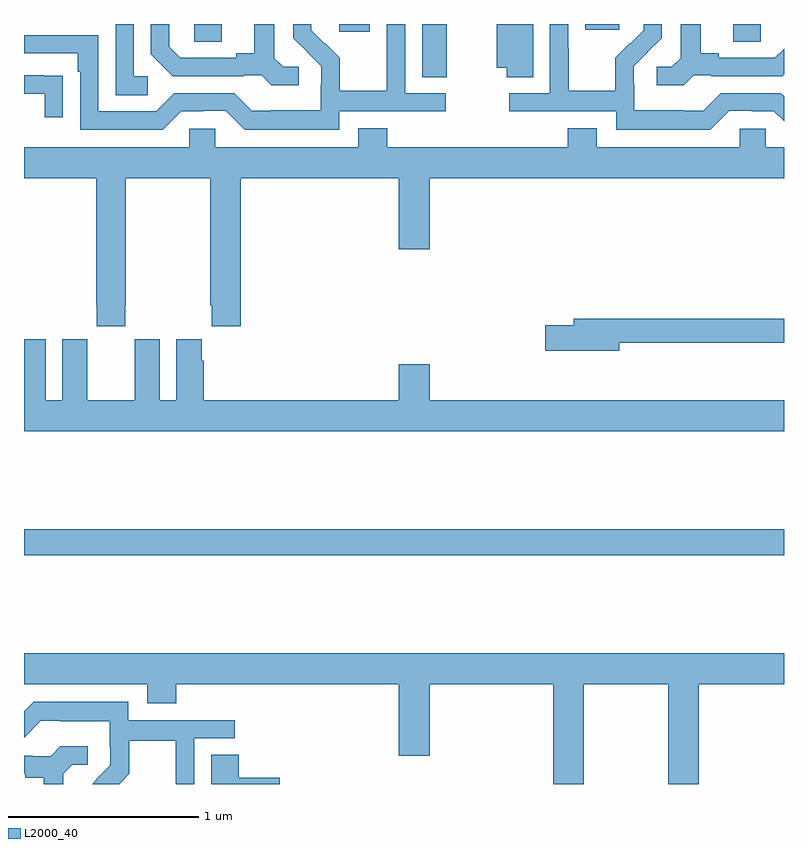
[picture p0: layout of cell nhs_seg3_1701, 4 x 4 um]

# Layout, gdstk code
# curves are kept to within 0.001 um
import gdstk
lib = gdstk.Library(unit=1e-6, precision=1e-09)
def R(c, l, rs):  # rectangles x0, y0, x1, y1
    for r in rs: c.add(gdstk.rectangle(r[:2], r[2:], *l))
def P(c, l, *ps):  # polygons
    for p in ps: c.add(gdstk.Polygon(p, *l))
L2000_40 = (2000, 40)

nhs_seg3_1701 = lib.new_cell('nhs_seg3_1701')
R(nhs_seg3_1701, L2000_40, [(199,693.604,203,693.74), (201.095,696.121,201.226,696.4), (199.896,696.307,200.041,696.4), (202.733,696.307,202.878,696.4), (200.66,696.36,200.821,696.4), (201.953,696.369,202.132,696.4)])
P(nhs_seg3_1701, L2000_40, [(202.524,696.129),(202.618,696.129),(202.618,696.126),(202.99,696.126),(203,696.136),(203,696.27),(202.952,696.222),(202.657,696.222),(202.657,696.245),(202.561,696.245),(202.561,696.4),(202.457,696.4),(202.457,696.221),(202.41,696.174),(202.329,696.174),(202.329,696.077),(202.472,696.077)],
  [(202.713,695.943),(202.829,695.943),(202.829,695.94),(202.947,695.94),(203,695.887),(203,696.019),(202.983,696.036),(202.668,696.036),(202.575,695.943),(202.475,695.943),(202.475,695.947),(202.212,695.947),(202.212,696.081),(202.21,696.081),(202.21,696.178),(202.356,696.326),(202.356,696.4),(202.262,696.4),(202.262,696.368),(202.191,696.297),(202.188,696.3),(202.111,696.223),(202.111,696.049),(201.867,696.049),(201.867,696.272),(201.864,696.272),(201.864,696.4),(201.768,696.4),(201.768,696.036),(201.555,696.036),(201.555,695.94),(202.116,695.94),(202.116,695.843),(202.613,695.843)],
  [(199.651,696.126),(199.578,696.126),(199.578,696.4),(199.482,696.4),(199.482,696.025),(199.651,696.025)],
  [(200.658,695.94),(201.22,695.94),(201.22,696.036),(201.006,696.036),(201.006,696.4),(200.91,696.4),(200.91,696.272),(200.908,696.272),(200.908,696.049),(200.663,696.049),(200.663,696.223),(200.586,696.3),(200.583,696.297),(200.513,696.368),(200.513,696.4),(200.418,696.4),(200.418,696.326),(200.564,696.178),(200.564,696.081),(200.562,696.081),(200.562,695.947),(200.299,695.947),(200.299,695.943),(200.199,695.943),(200.106,696.036),(199.791,696.036),(199.695,695.94),(199.392,695.94),(199.392,696.342),(199,696.342),(199,696.246),(199.283,696.246),(199.283,696.149),(199.296,696.149),(199.296,695.844),(199.731,695.844),(199.827,695.94),(199.946,695.94),(199.946,695.943),(200.061,695.943),(200.161,695.843),(200.658,695.843)],
  [(201.679,696.4),(201.488,696.4),(201.488,696.17),(201.541,696.17),(201.541,696.121),(201.679,696.121)],
  [(200.446,696.174),(200.364,696.174),(200.317,696.221),(200.317,696.4),(200.213,696.4),(200.213,696.245),(200.117,696.245),(200.117,696.222),(199.822,696.222),(199.765,696.279),(199.765,696.4),(199.668,696.4),(199.668,696.242),(199.784,696.126),(200.156,696.126),(200.156,696.129),(200.25,696.129),(200.302,696.077),(200.446,696.077)],
  [(199.205,696.128),(199.103,696.128),(199.103,696.129),(199,696.129),(199,696.033),(199.109,696.033),(199.109,695.91),(199.205,695.91)],
  [(199.533,694.921),(199.536,694.921),(199.536,695.588),(199.981,695.588),(199.981,694.921),(199.987,694.921),(199.987,694.809),(200.141,694.809),(200.141,695.588),(200.972,695.588),(200.972,695.214),(201.136,695.214),(201.136,695.588),(203,695.588),(203,695.752),(202.905,695.752),(202.905,695.85),(202.767,695.85),(202.767,695.752),(202.015,695.752),(202.015,695.851),(201.863,695.851),(201.863,695.752),(200.912,695.752),(200.912,695.851),(200.759,695.851),(200.759,695.752),(200.007,695.752),(200.007,695.85),(199.869,695.85),(199.869,695.752),(199,695.752),(199,695.588),(199.381,695.588),(199.381,694.921),(199.383,694.921),(199.383,694.809),(199.533,694.809)],
  [(202.132,694.722),(203,694.722),(203,694.85),(201.893,694.85),(201.893,694.814),(201.744,694.814),(201.744,694.679),(202.132,694.679)],
  [(203,694.42),(201.136,694.42),(201.136,694.609),(200.972,694.609),(200.972,694.42),(199.946,694.42),(199.946,694.628),(199.936,694.628),(199.936,694.741),(199.802,694.741),(199.802,694.42),(199.714,694.42),(199.714,694.741),(199.584,694.741),(199.584,694.628),(199.583,694.628),(199.583,694.42),(199.333,694.42),(199.333,694.628),(199.332,694.628),(199.332,694.741),(199.202,694.741),(199.202,694.42),(199.114,694.42),(199.114,694.741),(199,694.741),(199,694.256),(203,694.256)],
  [(201.945,692.924),(202.39,692.924),(202.39,692.4),(202.55,692.4),(202.55,692.924),(203,692.924),(203,693.088),(199,693.088),(199,692.924),(199.649,692.924),(199.649,692.825),(199.802,692.825),(199.802,692.924),(200.972,692.924),(200.972,692.55),(201.136,692.55),(201.136,692.924),(201.785,692.924),(201.785,692.4),(201.945,692.4)],
  [(199.553,692.453),(199.553,692.628),(199.798,692.628),(199.798,692.404),(199.8,692.404),(199.8,692.4),(199.896,692.4),(199.896,692.64),(200.11,692.64),(200.11,692.736),(199.548,692.736),(199.548,692.833),(199.051,692.833),(199,692.782),(199,692.644),(199.089,692.733),(199.189,692.733),(199.189,692.729),(199.452,692.729),(199.452,692.595),(199.454,692.595),(199.454,692.498),(199.38,692.424),(199.381,692.423),(199.358,692.4),(199.5,692.4)],
  [(199.207,692.455),(199.254,692.502),(199.336,692.502),(199.336,692.599),(199.192,692.599),(199.14,692.547),(199.046,692.547),(199.046,692.55),(199,692.55),(199,692.454),(199.007,692.454),(199.007,692.432),(199.103,692.432),(199.103,692.4),(199.207,692.4)],
  [(200.347,692.432),(200.129,692.432),(200.129,692.555),(199.985,692.555),(199.985,692.4),(200.347,692.4)])

lib.write_gds('nhs_seg3_1701.gds')
